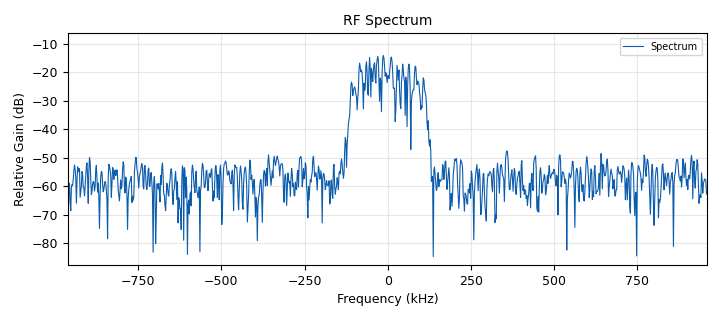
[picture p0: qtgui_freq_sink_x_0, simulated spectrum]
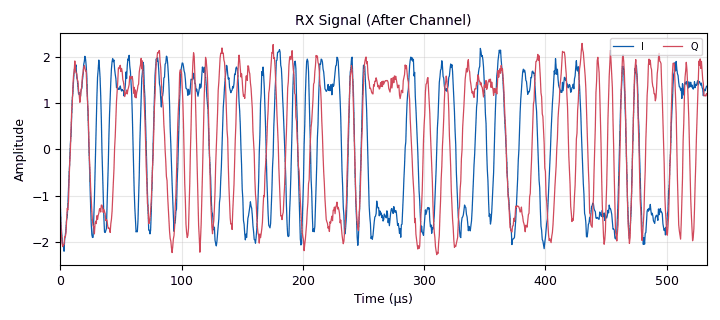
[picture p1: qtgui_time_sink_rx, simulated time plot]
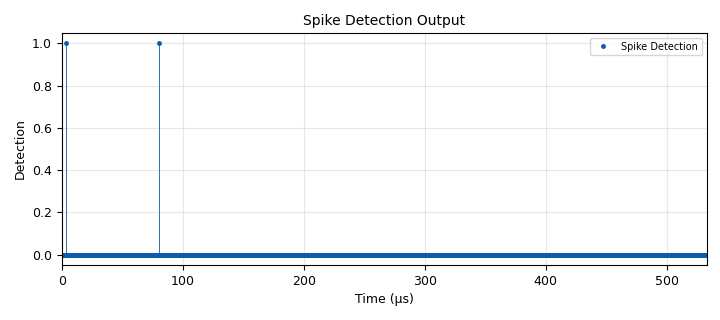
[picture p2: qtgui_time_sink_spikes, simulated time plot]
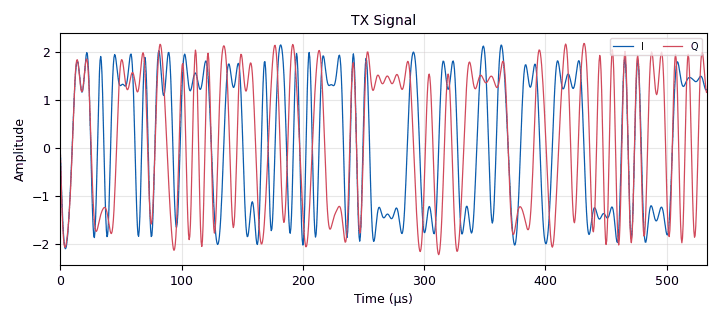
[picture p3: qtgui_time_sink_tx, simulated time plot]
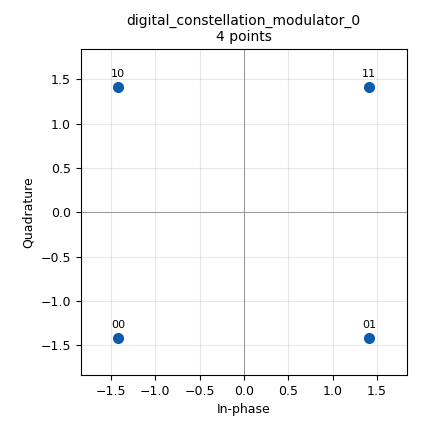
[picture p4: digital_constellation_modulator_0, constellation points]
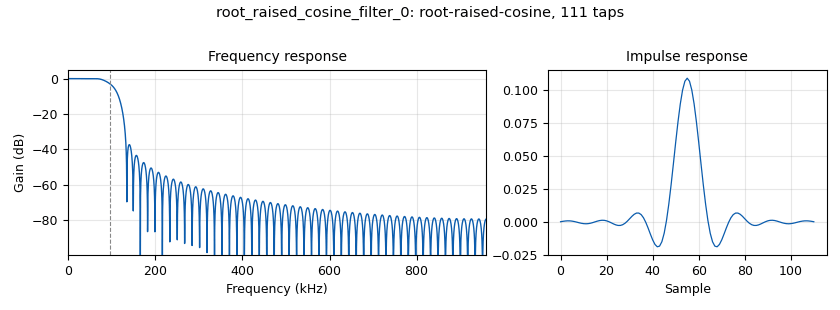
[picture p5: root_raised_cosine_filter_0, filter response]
options:
  parameters:
    author: Shubham Gupta, Himanshu Kumar
    comment: Fixed QPSK Intrusion Detection System - Simulation Mode
    copyright: '2025'
    description: QPSK TX -> AWGN Channel -> Jammer -> RX with spike detection
    generate_options: qt_gui
    id: intrusion_detection_sim
    output_language: python
    title: SDR Intrusion Detection - Simulation Demo
  states: {}

blocks:
- name: excess_bw
  id: variable
  parameters:
    comment: 'Root raised cosine roll-off (FIXED: was 350, now 0.35)'
    value: '0.35'
  states: {}
- name: jammer_amp
  id: variable_qtgui_range
  parameters:
    comment: Jammer power
    gui_hint: 1,0,1,1
    label: Jammer Amplitude
    start: '0'
    step: '0.1'
    stop: '5.0'
    value: '1.0'
  states: {}
- name: jammer_enable
  id: variable_qtgui_chooser
  parameters:
    comment: Toggle jammer on/off
    gui_hint: 0,1,1,1
    label: Jammer
    label0: 'OFF'
    label1: 'ON'
    num_opts: '2'
    option0: '0'
    option1: '1'
    options: '[0, 1]'
    type: int
    value: '0'
    widget: radio_buttons
  states: {}
- name: noise_voltage
  id: variable_qtgui_range
  parameters:
    comment: Channel noise level (adjustable in GUI)
    gui_hint: 0,0,1,1
    label: AWGN Noise Voltage
    start: '0'
    step: '0.01'
    stop: '1.0'
    value: '0.1'
  states: {}
- name: samp_rate
  id: variable
  parameters:
    comment: 1.92 MSps - matches USRP B210
    value: '1920000'
  states: {}
- name: sps
  id: variable
  parameters:
    comment: Samples per symbol
    value: '10'
  states: {}
- name: analog_agc_xx_0
  id: analog_agc_xx
  parameters:
    comment: Automatic gain control
    gain: '1'
    max_gain: '65536'
    rate: '1e-4'
    reference: '1.0'
    type: complex
  states: {}
- name: analog_random_source_0
  id: analog_random_source_x
  parameters:
    comment: Random bytes for QPSK modulation
    max: '256'
    min: '0'
    num_samps: '1000'
    repeat: 'True'
    type: byte
  states: {}
- name: analog_sig_source_jammer
  id: analog_sig_source_x
  parameters:
    amp: jammer_amp
    comment: Tone jammer at 50 kHz offset
    freq: '50000'
    offset: '0'
    phase: '0'
    samp_rate: samp_rate
    type: complex
    waveform: analog.GR_COS_WAVE
  states: {}
- name: blocks_add_xx_0
  id: blocks_add_xx
  parameters:
    comment: Channel signal + optional jammer
    type: complex
  states: {}
- name: blocks_complex_to_mag_0
  id: blocks_complex_to_mag
  parameters:
    comment: '|IQ| magnitude for spike detection'
  states: {}
- name: blocks_file_sink_rx
  id: blocks_file_sink
  parameters:
    comment: Save received IQ for CNN training
    file: rx_data.dat
    type: complex
  states: {}
- name: blocks_multiply_const_jam
  id: blocks_multiply_const_vxx
  parameters:
    comment: 'Gate: 0=off, 1=on'
    const: jammer_enable
    type: complex
  states: {}
- name: blocks_peak_detector_xb_0
  id: blocks_peak_detector_xb
  parameters:
    alpha: '0.001'
    comment: Motion/intrusion spike detector
    look_ahead: '10'
    threshold_factor_fall: '1.2'
    threshold_factor_rise: '1.5'
    type: float
  states: {}
- name: channels_channel_model_0
  id: channels_channel_model
  parameters:
    comment: AWGN + frequency/timing offsets
    epsilon: '1.0'
    freq_offset: '0.0'
    noise_voltage: noise_voltage
    seed: '42'
    taps: '1.0'
  states: {}
- name: digital_constellation_modulator_0
  id: digital_constellation_modulator
  parameters:
    comment: 'FIXED: excess_bw uses variable (0.35)'
    constellation: digital.constellation_qpsk().base()
    differential: 'False'
    excess_bw: excess_bw
    samples_per_symbol: sps
  states: {}
- name: digital_costas_loop_cc_0
  id: digital_costas_loop_cc
  parameters:
    comment: 'FIXED: order=4 (QPSK), was 2 (BPSK)'
    order: '4'
    w: '0.05'
  states: {}
- name: digital_symbol_sync_xx_0
  id: digital_symbol_sync_xx
  parameters:
    comment: Mueller-Muller timing recovery
    damping: '1.0'
    loop_bw: '0.045'
    max_dev: '1.5'
    osps: '1'
    resamp_type: digital.IR_MMSE_8TAP
    sps: sps
    ted_gain: '1.0'
    ted_type: digital.TED_MUELLER_AND_MULLER
    type: cc
  states: {}
- name: note_alarm
  id: note
  parameters:
    note: === SPIKE DETECTION & ALARM ===
  states: {}
- name: note_ch
  id: note
  parameters:
    note: '=== CHANNEL (FIXED: TX now connects to RX) ==='
  states: {}
- name: note_jam
  id: note
  parameters:
    note: === JAMMER (toggle via GUI) ===
  states: {}
- name: note_rx
  id: note
  parameters:
    note: === RECEIVER ===
  states: {}
- name: note_tx
  id: note
  parameters:
    note: === TRANSMITTER ===
  states: {}
- name: qtgui_freq_sink_x_0
  id: qtgui_freq_sink_x
  parameters:
    autoscale: 'True'
    bw: samp_rate
    fc: '0'
    fftsize: '1024'
    grid: 'True'
    gui_hint: 4,0,1,2
    label1: Spectrum
    name: '"RF Spectrum"'
    type: complex
    ymin: '-80'
  states: {}
- name: qtgui_time_sink_rx
  id: qtgui_time_sink_x
  parameters:
    autoscale: 'True'
    grid: 'True'
    gui_hint: 2,1,1,1
    label1: I
    label2: Q
    name: '"RX Signal (After Channel)"'
    size: '1024'
    srate: samp_rate
    type: complex
    ymax: '2'
    ymin: '-2'
  states: {}
- name: qtgui_time_sink_spikes
  id: qtgui_time_sink_x
  parameters:
    autoscale: 'True'
    color1: red
    grid: 'True'
    gui_hint: 3,0,1,2
    label1: Spike Detection
    name: '"Spike Detection Output"'
    size: '1024'
    srate: samp_rate
    stemplot: 'True'
    type: float
    width1: '2'
    ylabel: Detection
    ymax: '1.5'
    ymin: '-0.5'
  states: {}
- name: qtgui_time_sink_tx
  id: qtgui_time_sink_x
  parameters:
    autoscale: 'True'
    grid: 'True'
    gui_hint: 2,0,1,1
    label1: I
    label2: Q
    name: '"TX Signal"'
    size: '1024'
    srate: samp_rate
    type: complex
    ymax: '2'
    ymin: '-2'
  states: {}
- name: root_raised_cosine_filter_0
  id: root_raised_cosine_filter
  parameters:
    alpha: excess_bw
    comment: Matched filter for ISI reduction
    decim: '1'
    gain: '1'
    ntaps: 11*sps+1
    samp_rate: samp_rate
    sym_rate: samp_rate/sps
    type: fir_filter_ccf
  states: {}
- name: blocks_uchar_to_float_0
  id: blocks_uchar_to_float
  parameters:
    comment: Converter for spike output
  states: {}
- name: blocks_null_sink_0
  id: blocks_null_sink
  parameters:
    type: complex
  states: {}
- name: blocks_throttle2_0
  id: blocks_throttle2
  parameters:
    comment: Limit CPU usage in simulation
    samples_per_second: samp_rate
    type: complex
  states: {}

connections:
- [analog_agc_xx_0, '0', blocks_complex_to_mag_0, '0']
- [analog_agc_xx_0, '0', root_raised_cosine_filter_0, '0']
- [analog_random_source_0, '0', digital_constellation_modulator_0, '0']
- [analog_sig_source_jammer, '0', blocks_multiply_const_jam, '0']
- [blocks_add_xx_0, '0', analog_agc_xx_0, '0']
- [blocks_add_xx_0, '0', blocks_file_sink_rx, '0']
- [blocks_add_xx_0, '0', qtgui_freq_sink_x_0, '0']
- [blocks_add_xx_0, '0', qtgui_time_sink_rx, '0']
- [blocks_complex_to_mag_0, '0', blocks_peak_detector_xb_0, '0']
- [blocks_multiply_const_jam, '0', blocks_add_xx_0, '1']
- [blocks_peak_detector_xb_0, '0', blocks_uchar_to_float_0, '0']
- [blocks_throttle2_0, '0', channels_channel_model_0, '0']
- [blocks_uchar_to_float_0, '0', qtgui_time_sink_spikes, '0']
- [channels_channel_model_0, '0', blocks_add_xx_0, '0']
- [digital_constellation_modulator_0, '0', blocks_throttle2_0, '0']
- [digital_constellation_modulator_0, '0', qtgui_time_sink_tx, '0']
- [digital_costas_loop_cc_0, '0', blocks_null_sink_0, '0']
- [digital_symbol_sync_xx_0, '0', digital_costas_loop_cc_0, '0']
- [root_raised_cosine_filter_0, '0', digital_symbol_sync_xx_0, '0']

metadata:
  file_format: 1
  grc_version: 3.10.12.0
